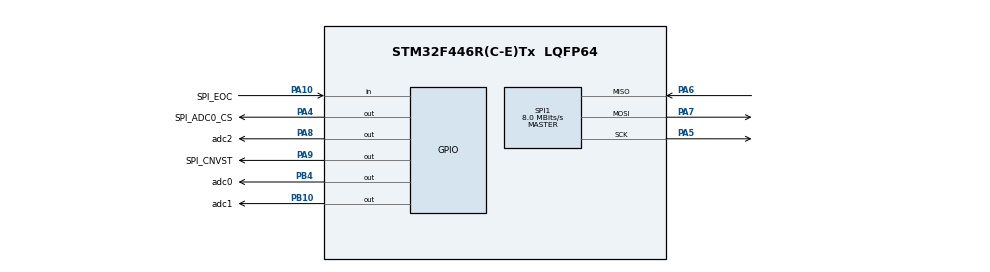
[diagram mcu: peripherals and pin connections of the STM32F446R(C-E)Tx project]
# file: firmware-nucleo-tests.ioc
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Mcu.Family=STM32F4
Mcu.Name=STM32F446R(C-E)Tx
Mcu.Package=LQFP64
NVIC.PriorityGroup=NVIC_PRIORITYGROUP_4
NVIC.TIM2_IRQn=true\:0\:0\:false\:false\:true\:true\:true
PA10.GPIO_Label=SPI_EOC
PA10.Signal=GPIO_Input
PA13.Mode=Trace_Asynchronous_SW
PA13.Signal=SYS_JTMS-SWDIO
PA14.Mode=Trace_Asynchronous_SW
PA14.Signal=SYS_JTCK-SWCLK
PA4.GPIO_Label=SPI_ADC0_CS
PA4.GPIO_PuPd=GPIO_NOPULL
PA4.GPIO_Speed=GPIO_SPEED_FREQ_HIGH
PA4.PinState=GPIO_PIN_SET
PA4.Signal=GPIO_Output
PA5.Mode=Full_Duplex_Master
PA5.Signal=SPI1_SCK
PA6.Mode=Full_Duplex_Master
PA6.Signal=SPI1_MISO
PA7.GPIO_PuPd=GPIO_NOPULL
PA7.Mode=Full_Duplex_Master
PA7.Signal=SPI1_MOSI
PA8.GPIO_Label=adc2
PA8.GPIO_Speed=GPIO_SPEED_FREQ_HIGH
PA8.Signal=GPIO_Output
PA9.GPIO_Label=SPI_CNVST
PA9.GPIO_ModeDefaultOutputPP=GPIO_MODE_OUTPUT_PP
PA9.GPIO_PuPd=GPIO_NOPULL
PA9.GPIO_Speed=GPIO_SPEED_FREQ_HIGH
PA9.PinState=GPIO_PIN_SET
PA9.Signal=GPIO_Output
PB10.GPIO_Label=adc1
PB10.GPIO_Speed=GPIO_SPEED_FREQ_HIGH
PB10.Signal=GPIO_Output
PB3.Mode=Trace_Asynchronous_SW
PB3.Signal=SYS_JTDO-SWO
PB4.GPIO_Label=adc0
PB4.GPIO_Speed=GPIO_SPEED_FREQ_HIGH
PB4.Signal=GPIO_Output
ProjectManager.HeapSize=0x200
ProjectManager.StackSize=0x400
ProjectManager.TargetToolchain=STM32CubeIDE
RCC.AHBFreq_Value=16000000
RCC.APB1Freq_Value=16000000
RCC.APB1TimFreq_Value=16000000
RCC.APB2Freq_Value=16000000
RCC.APB2TimFreq_Value=16000000
RCC.CortexFreq_Value=16000000
RCC.HCLKFreq_Value=16000000
RCC.USBFreq_Value=96000000
RCC.VCOOutputFreq_Value=192000000
SPI1.BaudRatePrescaler=SPI_BAUDRATEPRESCALER_2
SPI1.CLKPhase=SPI_PHASE_2EDGE
SPI1.CLKPolarity=SPI_POLARITY_HIGH
SPI1.CalculateBaudRate=8.0 MBits/s
SPI1.DataSize=SPI_DATASIZE_8BIT
SPI1.Direction=SPI_DIRECTION_2LINES
SPI1.FirstBit=SPI_FIRSTBIT_MSB
SPI1.Mode=SPI_MODE_MASTER
SPI1.VirtualType=VM_MASTER
TIM2.Period=1000
TIM2.Prescaler=16000
VP_TIM2_VS_ClockSourceINT.Mode=Internal
board=custom

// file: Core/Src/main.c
/* USER CODE BEGIN Header */
/**
  ******************************************************************************
  * @file           : main.c
  * @brief          : Main program body
  ******************************************************************************
  * @attention
  *
  * <h2><center>&copy; Copyright (c) 2020 STMicroelectronics.
  * All rights reserved.</center></h2>
  *
  * This software component is licensed by ST under BSD 3-Clause license,
  * the "License"; You may not use this file except in compliance with the
  * License. You may obtain a copy of the License at:
  *                        opensource.org/licenses/BSD-3-Clause
  *
  ******************************************************************************
  */
/* USER CODE END Header */

#include "main.h"

SPI_HandleTypeDef hspi1;

TIM_HandleTypeDef htim2;

void SystemClock_Config(void);
static void MX_GPIO_Init(void);
static void MX_TIM2_Init(void);
static void MX_SPI1_Init(void);

/* USER CODE BEGIN 0 */
volatile int read_adc_now = 0;
volatile uint16_t adc_values[14] = {0};
/* USER CODE END 0 */

int main(void)
{

  /* MCU Configuration--------------------------------------------------------*/

  /* Reset of all peripherals, Initializes the Flash interface and the Systick. */
  HAL_Init();

  /* Configure the system clock */
  SystemClock_Config();

  /* Initialize all configured peripherals */
  MX_GPIO_Init();
  MX_TIM2_Init();
  MX_SPI1_Init();
  /* USER CODE BEGIN 2 */
  HAL_TIM_Base_Start_IT(&htim2);

  // Initialize ADC dev board
  GPIO_MAX31_Pinfo adc_pins;
  adc_pins.MAX31_CS_PORT[0] 		= SPI_ADC0_CS_GPIO_Port;
  adc_pins.MAX31_EOC_PORT[0]		= SPI_EOC_GPIO_Port;
  adc_pins.MAX31_CNVST_PORT[0]		= SPI_CNVST_GPIO_Port;
  adc_pins.MAX31_CS_ADDR[0] 		= SPI_ADC0_CS_Pin;
  adc_pins.MAX31_EOC_ADDR[0]		= SPI_EOC_Pin;
  adc_pins.MAX31_CNVST_ADDR[0]		= SPI_CNVST_Pin;
  adc_pins.NUM_ADCS	= 1;

  init_adc(&hspi1, &adc_pins);
  /* USER CODE END 2 */

  /* Infinite loop */
  while (1)
  {

    /* USER CODE BEGIN 3 */
	if (read_adc_now) {
		read_adc(&hspi1, 0, adc_values);
		read_adc_now = 0;
	}
  }
  /* USER CODE END 3 */
}

void SystemClock_Config(void)
{
  RCC_OscInitTypeDef RCC_OscInitStruct = {0};
  RCC_ClkInitTypeDef RCC_ClkInitStruct = {0};

  /** Configure the main internal regulator output voltage
  */
  __HAL_RCC_PWR_CLK_ENABLE();
  __HAL_PWR_VOLTAGESCALING_CONFIG(PWR_REGULATOR_VOLTAGE_SCALE3);
  /** Initializes the CPU, AHB and APB busses clocks
  */
  RCC_OscInitStruct.OscillatorType = RCC_OSCILLATORTYPE_HSI;
  RCC_OscInitStruct.HSIState = RCC_HSI_ON;
  RCC_OscInitStruct.HSICalibrationValue = RCC_HSICALIBRATION_DEFAULT;
  RCC_OscInitStruct.PLL.PLLState = RCC_PLL_NONE;
  if (HAL_RCC_OscConfig(&RCC_OscInitStruct) != HAL_OK)
  {
    Error_Handler();
  }
  /** Initializes the CPU, AHB and APB busses clocks
  */
  RCC_ClkInitStruct.ClockType = RCC_CLOCKTYPE_HCLK|RCC_CLOCKTYPE_SYSCLK
                              |RCC_CLOCKTYPE_PCLK1|RCC_CLOCKTYPE_PCLK2;
  RCC_ClkInitStruct.SYSCLKSource = RCC_SYSCLKSOURCE_HSI;
  RCC_ClkInitStruct.AHBCLKDivider = RCC_SYSCLK_DIV1;
  RCC_ClkInitStruct.APB1CLKDivider = RCC_HCLK_DIV1;
  RCC_ClkInitStruct.APB2CLKDivider = RCC_HCLK_DIV1;

  if (HAL_RCC_ClockConfig(&RCC_ClkInitStruct, FLASH_LATENCY_0) != HAL_OK)
  {
    Error_Handler();
  }
}

static void MX_SPI1_Init(void)
{

  /* SPI1 parameter configuration*/
  hspi1.Instance = SPI1;
  hspi1.Init.Mode = SPI_MODE_MASTER;
  hspi1.Init.Direction = SPI_DIRECTION_2LINES;
  hspi1.Init.DataSize = SPI_DATASIZE_8BIT;
  hspi1.Init.CLKPolarity = SPI_POLARITY_HIGH;
  hspi1.Init.CLKPhase = SPI_PHASE_2EDGE;
  hspi1.Init.NSS = SPI_NSS_SOFT;
  hspi1.Init.BaudRatePrescaler = SPI_BAUDRATEPRESCALER_2;
  hspi1.Init.FirstBit = SPI_FIRSTBIT_MSB;
  hspi1.Init.TIMode = SPI_TIMODE_DISABLE;
  hspi1.Init.CRCCalculation = SPI_CRCCALCULATION_DISABLE;
  hspi1.Init.CRCPolynomial = 10;
  if (HAL_SPI_Init(&hspi1) != HAL_OK)
  {
    Error_Handler();
  }

}

static void MX_TIM2_Init(void)
{

  TIM_ClockConfigTypeDef sClockSourceConfig = {0};
  TIM_MasterConfigTypeDef sMasterConfig = {0};

  htim2.Instance = TIM2;
  htim2.Init.Prescaler = 16000;
  htim2.Init.CounterMode = TIM_COUNTERMODE_UP;
  htim2.Init.Period = 1000;
  htim2.Init.ClockDivision = TIM_CLOCKDIVISION_DIV1;
  htim2.Init.AutoReloadPreload = TIM_AUTORELOAD_PRELOAD_DISABLE;
  if (HAL_TIM_Base_Init(&htim2) != HAL_OK)
  {
    Error_Handler();
  }
  sClockSourceConfig.ClockSource = TIM_CLOCKSOURCE_INTERNAL;
  if (HAL_TIM_ConfigClockSource(&htim2, &sClockSourceConfig) != HAL_OK)
  {
    Error_Handler();
  }
  sMasterConfig.MasterOutputTrigger = TIM_TRGO_RESET;
  sMasterConfig.MasterSlaveMode = TIM_MASTERSLAVEMODE_DISABLE;
  if (HAL_TIMEx_MasterConfigSynchronization(&htim2, &sMasterConfig) != HAL_OK)
  {
    Error_Handler();
  }

}

static void MX_GPIO_Init(void)
{
  GPIO_InitTypeDef GPIO_InitStruct = {0};

  /* GPIO Ports Clock Enable */
  __HAL_RCC_GPIOA_CLK_ENABLE();
  __HAL_RCC_GPIOB_CLK_ENABLE();

  /*Configure GPIO pin Output Level */
  HAL_GPIO_WritePin(GPIOA, SPI_ADC0_CS_Pin|SPI_CNVST_Pin, GPIO_PIN_SET);

  /*Configure GPIO pin Output Level */
  HAL_GPIO_WritePin(adc1_GPIO_Port, adc1_Pin, GPIO_PIN_SET);

  /*Configure GPIO pin Output Level */
  HAL_GPIO_WritePin(adc2_GPIO_Port, adc2_Pin, GPIO_PIN_RESET);

  /*Configure GPIO pin Output Level */
  HAL_GPIO_WritePin(adc0_GPIO_Port, adc0_Pin, GPIO_PIN_RESET);

  /*Configure GPIO pins : SPI_ADC0_CS_Pin adc2_Pin SPI_CNVST_Pin */
  GPIO_InitStruct.Pin = SPI_ADC0_CS_Pin|adc2_Pin|SPI_CNVST_Pin;
  GPIO_InitStruct.Mode = GPIO_MODE_OUTPUT_PP;
  GPIO_InitStruct.Pull = GPIO_NOPULL;
  GPIO_InitStruct.Speed = GPIO_SPEED_FREQ_HIGH;
  HAL_GPIO_Init(GPIOA, &GPIO_InitStruct);

  /*Configure GPIO pins : adc1_Pin adc0_Pin */
  GPIO_InitStruct.Pin = adc1_Pin|adc0_Pin;
  GPIO_InitStruct.Mode = GPIO_MODE_OUTPUT_PP;
  GPIO_InitStruct.Pull = GPIO_NOPULL;
  GPIO_InitStruct.Speed = GPIO_SPEED_FREQ_HIGH;
  HAL_GPIO_Init(GPIOB, &GPIO_InitStruct);

  /*Configure GPIO pin : SPI_EOC_Pin */
  GPIO_InitStruct.Pin = SPI_EOC_Pin;
  GPIO_InitStruct.Mode = GPIO_MODE_INPUT;
  GPIO_InitStruct.Pull = GPIO_NOPULL;
  HAL_GPIO_Init(SPI_EOC_GPIO_Port, &GPIO_InitStruct);

}

void Error_Handler(void)
{
}

/************************ (C) COPYRIGHT STMicroelectronics *****END OF FILE****/
